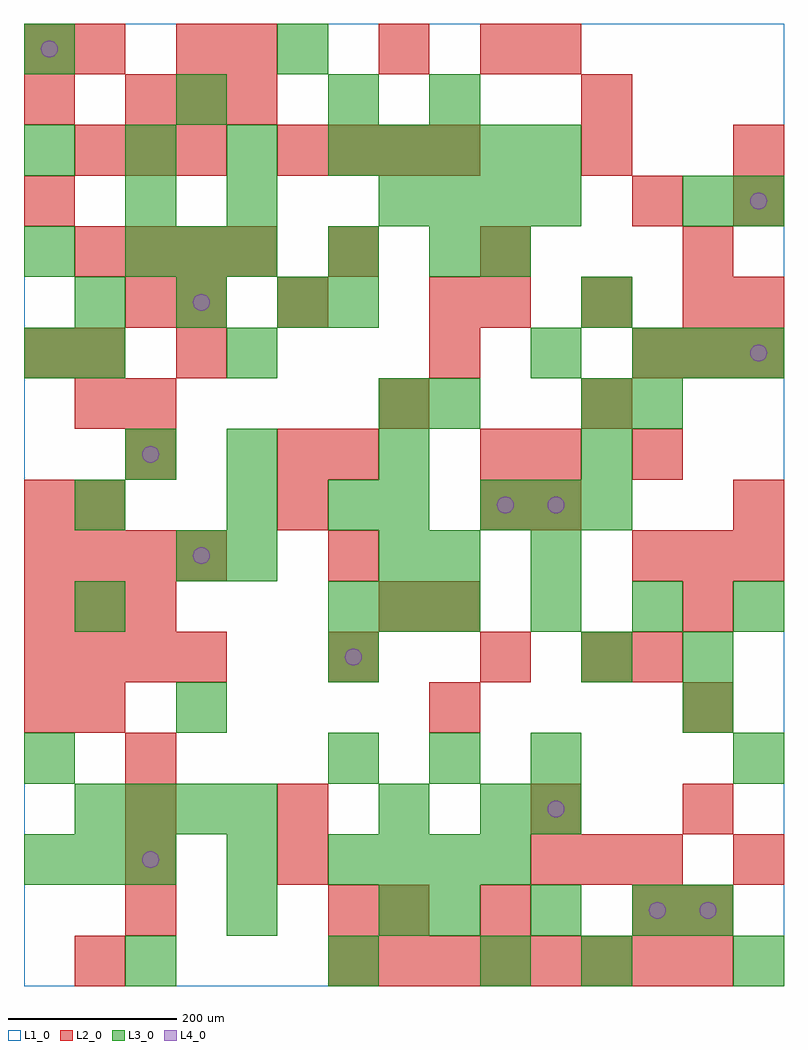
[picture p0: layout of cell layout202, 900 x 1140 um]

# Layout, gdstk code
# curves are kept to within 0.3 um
import gdstk
lib = gdstk.Library(unit=1e-6, precision=1e-09)
def R(c, l, rs):  # rectangles x0, y0, x1, y1
    for r in rs: c.add(gdstk.rectangle(r[:2], r[2:], *l))
def A(c, l, x, y, w, h, nx, ny, dx, dy):  # array of equal rectangles
    R(c, l, [(x+i*dx, y+j*dy, x+i*dx+w, y+j*dy+h) for i in range(nx) for j in range(ny)])
def P(c, l, *ps):  # polygons
    for p in ps: c.add(gdstk.Polygon(p, *l))
L1_0 = (1, 0)
L2_0 = (2, 0)
L3_0 = (3, 0)
L4_0 = (4, 0)

layout202 = lib.new_cell('layout202')
R(layout202, L1_0, [(0,0,900,1140)])
A(layout202, L2_0, 360, 0, 60, 60, 8, 1, 60, 0)
A(layout202, L2_0, 120, 60, 60, 60, 1, 4, 0, 60)
A(layout202, L2_0, 780, 60, 60, 60, 1, 4, 0, 120)
A(layout202, L2_0, 600, 120, 60, 60, 3, 1, 60, 0)
A(layout202, L2_0, 0, 360, 60, 60, 4, 2, 60, 120)
A(layout202, L2_0, 360, 360, 60, 60, 1, 3, 0, 120)
A(layout202, L2_0, 540, 360, 60, 60, 1, 4, 0, 240)
A(layout202, L2_0, 660, 360, 60, 60, 1, 3, 0, 300)
A(layout202, L2_0, 0, 420, 60, 60, 3, 1, 60, 0)
A(layout202, L2_0, 720, 480, 60, 60, 3, 2, 60, 240)
A(layout202, L2_0, 0, 540, 60, 60, 1, 3, 0, 180)
A(layout202, L2_0, 60, 540, 60, 60, 3, 1, 240, 0)
A(layout202, L2_0, 540, 780, 60, 60, 3, 1, 120, 0)
A(layout202, L2_0, 60, 840, 60, 60, 4, 1, 60, 0)
A(layout202, L2_0, 60, 960, 60, 60, 3, 1, 60, 0)
A(layout202, L2_0, 300, 960, 60, 60, 4, 1, 60, 0)
A(layout202, L2_0, 120, 1020, 60, 60, 3, 1, 60, 0)
R(layout202, L2_0, [(60,0,120,60), (360,60,420,120), (420,60,480,120), (540,60,600,120), (720,60,780,120), (300,120,360,180), (840,120,900,180), (300,180,360,240), (600,180,660,240), (0,300,60,360), (60,300,120,360), (480,300,540,360), (720,360,780,420), (420,420,480,480), (480,420,540,480), (600,540,660,600), (840,540,900,600), (120,600,180,660), (300,600,360,660), (600,600,660,660), (720,600,780,660), (60,660,120,720), (120,660,180,720), (420,660,480,720), (60,720,120,780), (180,720,240,780), (480,720,540,780), (120,780,180,840), (180,780,240,840), (300,780,360,840), (480,780,540,840), (840,780,900,840), (360,840,420,900), (780,840,840,900), (720,900,780,960), (840,900,900,960), (840,960,900,1020), (0,1020,60,1080), (660,1020,720,1080), (0,1080,60,1140), (60,1080,120,1140), (180,1080,240,1140), (240,1080,300,1140), (420,1080,480,1140), (600,1080,660,1140)])
A(layout202, L3_0, 480, 60, 60, 60, 3, 1, 120, 0)
A(layout202, L3_0, 0, 120, 60, 60, 3, 1, 60, 0)
A(layout202, L3_0, 360, 120, 60, 60, 4, 1, 60, 0)
A(layout202, L3_0, 60, 180, 60, 60, 4, 1, 60, 0)
A(layout202, L3_0, 360, 240, 60, 60, 3, 1, 120, 0)
A(layout202, L3_0, 360, 420, 60, 60, 3, 1, 60, 0)
A(layout202, L3_0, 600, 420, 60, 60, 3, 1, 120, 0)
A(layout202, L3_0, 240, 480, 60, 60, 1, 3, 0, 60)
A(layout202, L3_0, 420, 480, 60, 60, 1, 4, 0, 60)
A(layout202, L3_0, 480, 480, 60, 60, 1, 4, 0, 180)
A(layout202, L3_0, 540, 540, 60, 60, 3, 1, 60, 0)
A(layout202, L3_0, 720, 720, 60, 60, 3, 1, 60, 0)
A(layout202, L3_0, 60, 780, 60, 60, 3, 1, 120, 0)
A(layout202, L3_0, 120, 840, 60, 60, 3, 1, 60, 0)
A(layout202, L3_0, 420, 900, 60, 60, 4, 2, 60, 60)
A(layout202, L3_0, 0, 960, 60, 60, 4, 1, 120, 0)
R(layout202, L3_0, [(120,0,180,60), (360,0,420,60), (540,0,600,60), (660,0,720,60), (840,0,900,60), (240,60,300,120), (420,60,480,120), (780,60,840,120), (240,120,300,180), (420,180,480,240), (540,180,600,240), (600,180,660,240), (0,240,60,300), (840,240,900,300), (180,300,240,360), (780,300,840,360), (360,360,420,420), (660,360,720,420), (780,360,840,420), (60,420,120,480), (180,480,240,540), (600,480,660,540), (60,540,120,600), (360,540,420,600), (120,600,180,660), (660,600,720,660), (660,660,720,720), (720,660,780,720), (0,720,60,780), (60,720,120,780), (240,720,300,780), (600,720,660,780), (360,780,420,840), (660,780,720,840), (0,840,60,900), (360,840,420,900), (540,840,600,900), (120,900,180,960), (240,900,300,960), (780,900,840,960), (840,900,900,960), (180,1020,240,1080), (360,1020,420,1080), (0,1080,60,1140), (300,1080,360,1140)])
P(layout202, L4_0, [(40,1110),(39.239,1113.827),(37.071,1117.071),(33.827,1119.239),(30,1120),(26.173,1119.239),(22.929,1117.071),(20.761,1113.827),(20,1110),(20.761,1106.173),(22.929,1102.929),(26.173,1100.761),(30,1100),(33.827,1100.761),(37.071,1102.929),(39.239,1106.173)],
  [(160,150),(159.239,153.827),(157.071,157.071),(153.827,159.239),(150,160),(146.173,159.239),(142.929,157.071),(140.761,153.827),(140,150),(140.761,146.173),(142.929,142.929),(146.173,140.761),(150,140),(153.827,140.761),(157.071,142.929),(159.239,146.173)],
  [(160,630),(159.239,633.827),(157.071,637.071),(153.827,639.239),(150,640),(146.173,639.239),(142.929,637.071),(140.761,633.827),(140,630),(140.761,626.173),(142.929,622.929),(146.173,620.761),(150,620),(153.827,620.761),(157.071,622.929),(159.239,626.173)],
  [(220,510),(219.239,513.827),(217.071,517.071),(213.827,519.239),(210,520),(206.173,519.239),(202.929,517.071),(200.761,513.827),(200,510),(200.761,506.173),(202.929,502.929),(206.173,500.761),(210,500),(213.827,500.761),(217.071,502.929),(219.239,506.173)],
  [(220,810),(219.239,813.827),(217.071,817.071),(213.827,819.239),(210,820),(206.173,819.239),(202.929,817.071),(200.761,813.827),(200,810),(200.761,806.173),(202.929,802.929),(206.173,800.761),(210,800),(213.827,800.761),(217.071,802.929),(219.239,806.173)],
  [(400,390),(399.239,393.827),(397.071,397.071),(393.827,399.239),(390,400),(386.173,399.239),(382.929,397.071),(380.761,393.827),(380,390),(380.761,386.173),(382.929,382.929),(386.173,380.761),(390,380),(393.827,380.761),(397.071,382.929),(399.239,386.173)],
  [(580,570),(579.239,573.827),(577.071,577.071),(573.827,579.239),(570,580),(566.173,579.239),(562.929,577.071),(560.761,573.827),(560,570),(560.761,566.173),(562.929,562.929),(566.173,560.761),(570,560),(573.827,560.761),(577.071,562.929),(579.239,566.173)],
  [(640,210),(639.239,213.827),(637.071,217.071),(633.827,219.239),(630,220),(626.173,219.239),(622.929,217.071),(620.761,213.827),(620,210),(620.761,206.173),(622.929,202.929),(626.173,200.761),(630,200),(633.827,200.761),(637.071,202.929),(639.239,206.173)],
  [(640,570),(639.239,573.827),(637.071,577.071),(633.827,579.239),(630,580),(626.173,579.239),(622.929,577.071),(620.761,573.827),(620,570),(620.761,566.173),(622.929,562.929),(626.173,560.761),(630,560),(633.827,560.761),(637.071,562.929),(639.239,566.173)],
  [(760,90),(759.239,93.827),(757.071,97.071),(753.827,99.239),(750,100),(746.173,99.239),(742.929,97.071),(740.761,93.827),(740,90),(740.761,86.173),(742.929,82.929),(746.173,80.761),(750,80),(753.827,80.761),(757.071,82.929),(759.239,86.173)],
  [(820,90),(819.239,93.827),(817.071,97.071),(813.827,99.239),(810,100),(806.173,99.239),(802.929,97.071),(800.761,93.827),(800,90),(800.761,86.173),(802.929,82.929),(806.173,80.761),(810,80),(813.827,80.761),(817.071,82.929),(819.239,86.173)],
  [(880,750),(879.239,753.827),(877.071,757.071),(873.827,759.239),(870,760),(866.173,759.239),(862.929,757.071),(860.761,753.827),(860,750),(860.761,746.173),(862.929,742.929),(866.173,740.761),(870,740),(873.827,740.761),(877.071,742.929),(879.239,746.173)],
  [(880,930),(879.239,933.827),(877.071,937.071),(873.827,939.239),(870,940),(866.173,939.239),(862.929,937.071),(860.761,933.827),(860,930),(860.761,926.173),(862.929,922.929),(866.173,920.761),(870,920),(873.827,920.761),(877.071,922.929),(879.239,926.173)])

lib.write_gds('layout202.gds')
